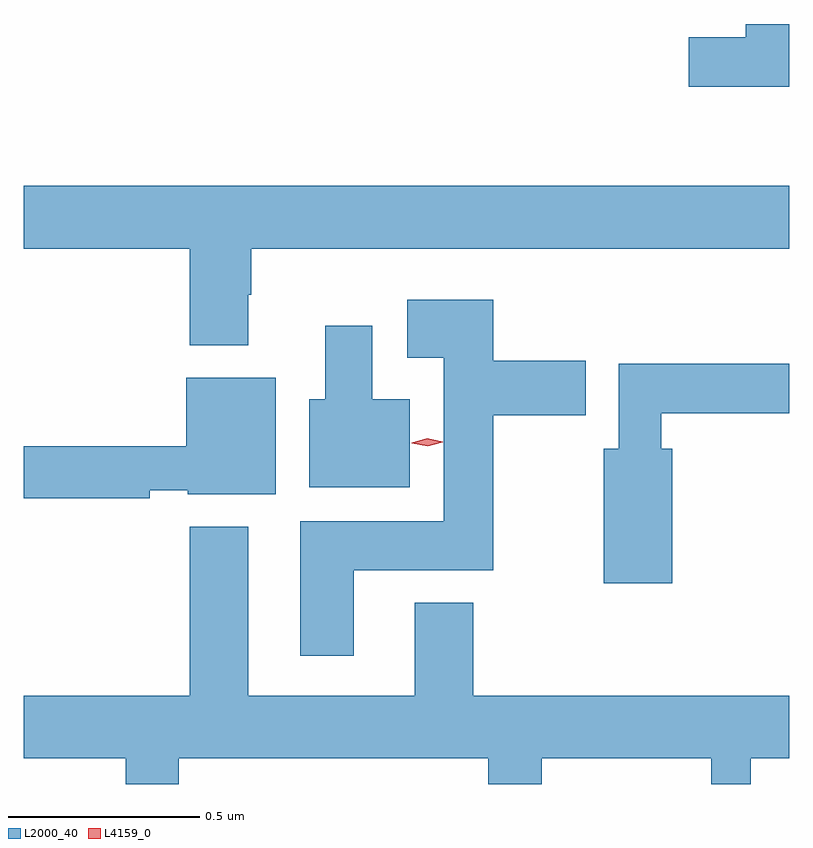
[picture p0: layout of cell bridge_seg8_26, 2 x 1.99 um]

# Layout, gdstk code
import gdstk
lib = gdstk.Library(unit=1e-6, precision=1e-09)
def P(c, l, *ps):  # polygons
    for p in ps: c.add(gdstk.Polygon(p, *l))
L2000_40 = (2000, 40)
L4159_0 = (4159, 0)

bridge_seg8_26 = lib.new_cell('bridge_seg8_26')
P(bridge_seg8_26, L2000_40, [(890.873,1131.739),(890.759,1131.739),(890.759,1131.705),(890.61,1131.705),(890.61,1131.575),(890.873,1131.575)],
  [(889.459,1131.032),(889.467,1131.032),(889.467,1131.152),(890.873,1131.152),(890.873,1131.316),(888.873,1131.316),(888.873,1131.152),(889.307,1131.152),(889.307,1130.9),(889.459,1130.9)],
  [(889.735,1130.312),(890.1,1130.312),(890.1,1130.717),(890.341,1130.717),(890.341,1130.859),(890.1,1130.859),(890.1,1131.019),(889.875,1131.019),(889.875,1130.867),(889.97,1130.867),(889.97,1130.44),(889.595,1130.44),(889.595,1130.088),(889.735,1130.088)],
  [(889.882,1130.758),(889.783,1130.758),(889.783,1130.95),(889.661,1130.95),(889.661,1130.758),(889.619,1130.758),(889.619,1130.528),(889.882,1130.528)],
  [(890.567,1130.629),(890.539,1130.629),(890.539,1130.722),(890.873,1130.722),(890.873,1130.851),(890.427,1130.851),(890.427,1130.629),(890.389,1130.629),(890.389,1130.277),(890.567,1130.277)],
  [(889.202,1130.52),(889.302,1130.52),(889.302,1130.51),(889.531,1130.51),(889.531,1130.815),(889.298,1130.815),(889.298,1130.636),(888.873,1130.636),(888.873,1130.5),(889.202,1130.5)],
  [(889.278,1129.82),(890.087,1129.82),(890.087,1129.753),(890.227,1129.753),(890.227,1129.82),(890.669,1129.82),(890.669,1129.753),(890.773,1129.753),(890.773,1129.82),(890.873,1129.82),(890.873,1129.984),(890.048,1129.984),(890.048,1130.227),(889.895,1130.227),(889.895,1129.984),(889.459,1129.984),(889.459,1130.425),(889.307,1130.425),(889.307,1129.984),(888.873,1129.984),(888.873,1129.82),(889.139,1129.82),(889.139,1129.753),(889.278,1129.753)])
P(bridge_seg8_26, L4159_0, [(889.928,1130.636),(889.887,1130.644),(889.887,1130.644),(889.887,1130.645),(889.927,1130.656),(889.968,1130.647),(889.968,1130.647),(889.968,1130.646)])

lib.write_gds('bridge_seg8_26.gds')
